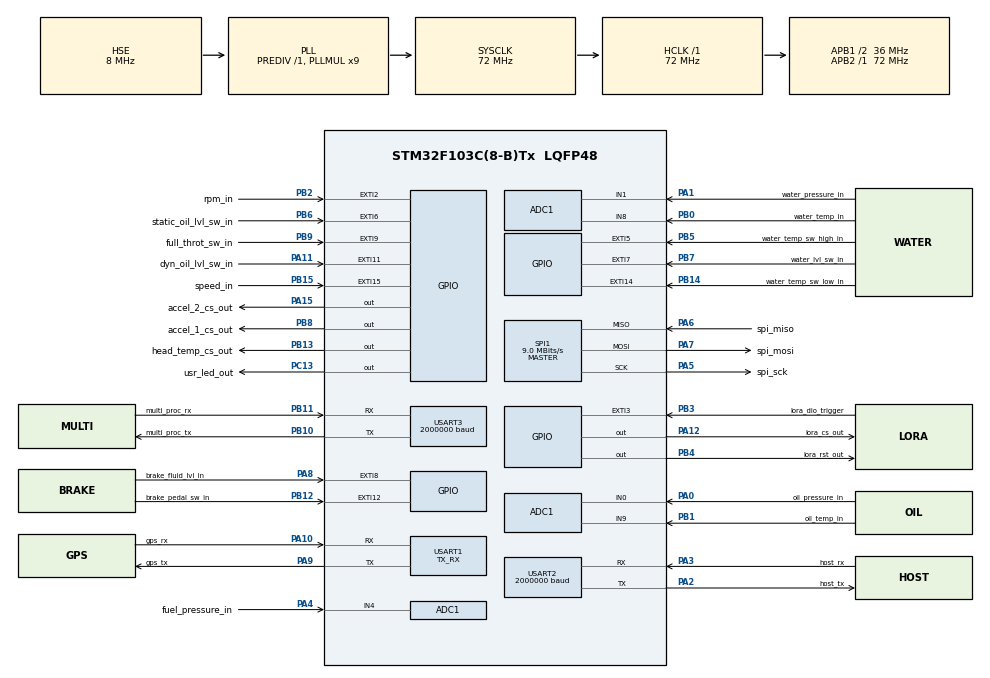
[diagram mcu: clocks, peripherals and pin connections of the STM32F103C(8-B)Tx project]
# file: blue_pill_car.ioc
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Mcu.Family=STM32F1
PA6.Mode=Full_Duplex_Master
SPI1.VirtualType=VM_MASTER
PB10.Mode=Multiprocessor_communication
PB14.GPIO_Label=water_temp_sw_low_in
PA6.GPIO_Label=spi_miso
PB0.GPIO_Label=water_temp_in
PB6.GPIO_Label=static_oil_lvl_sw_in
NVIC.TIM1_UP_IRQn=true\:0\:0\:false\:false\:true\:true\:true
PA11.GPIO_PuPd=GPIO_PULLDOWN
PB13.GPIO_Label=head_temp_cs_out
PB11.Signal=USART3_RX
PB13.Signal=GPIO_Output
PB15.Signal=GPXTI15
PC15-OSC32_OUT.GPIO_Label=clk_32khz_out
RCC.SYSCLKSource=RCC_SYSCLKSOURCE_PLLCLK
ProjectManager.StackSize=0x400
PD1-OSC_OUT.Signal=RCC_OSC_OUT
PA15.GPIO_Label=accel_2_cs_out
PD1-OSC_OUT.GPIO_Label=clk_8mhz_out
PA12.Signal=GPIO_Output
TIM1.Prescaler=36000-1
USART3.BaudRate=2000000
SPI1.Direction=SPI_DIRECTION_2LINES
RCC.HCLKFreq_Value=72000000
RCC.APB2TimFreq_Value=72000000
PB6.Signal=GPXTI6
SPI1.CalculateBaudRate=9.0 MBits/s
PB9.GPIO_ModeDefaultEXTI=GPIO_MODE_IT_RISING_FALLING
RCC.AHBFreq_Value=72000000
NVIC.EXTI15_10_IRQn=true\:0\:0\:false\:false\:true\:true\:true
PA12.PinState=GPIO_PIN_SET
PB2.Signal=GPXTI2
RCC.PLLMUL=RCC_PLL_MUL9
PB12.GPIO_Label=brake_pedal_sw_in
PB3.GPIO_PuPd=GPIO_PULLDOWN
PC14-OSC32_IN.Mode=LSE-External-Oscillator
PC13-TAMPER-RTC.PinState=GPIO_PIN_RESET
PA14.Mode=Serial_Wire
PB1.GPIO_Label=oil_temp_in
PA10.GPIO_Label=gps_rx
SH.ADCx_IN8.0=ADC1_IN8,IN8
PB8.PinState=GPIO_PIN_SET
PB7.Signal=GPXTI7
PA8.Signal=GPXTI8
SH.ADCx_IN0.0=ADC1_IN0,IN0
PC13-TAMPER-RTC.GPIO_Speed=GPIO_SPEED_FREQ_HIGH
PB2.GPIO_PuPd=GPIO_PULLDOWN
VP_TIM1_VS_ClockSourceINT.Mode=Internal
PB7.GPIO_Label=water_lvl_sw_in
Mcu.Package=LQFP48
PB9.Signal=GPXTI9
PB14.GPIO_PuPd=GPIO_PULLDOWN
PB1.Signal=ADCx_IN9
PA6.Signal=SPI1_MISO
PB15.GPIO_PuPd=GPIO_PULLDOWN
USART2.VirtualMode=VM_ASYNC
PA2.GPIO_Label=host_tx
PA10.Signal=USART1_RX
PB9.GPIO_PuPd=GPIO_PULLDOWN
PA15.Signal=GPIO_Output
SH.ADCx_IN9.0=ADC1_IN9,IN9
SH.ADCx_IN1.0=ADC1_IN1,IN1
PB5.GPIO_Label=water_temp_sw_high_in
RCC.APB1TimFreq_Value=72000000
PC14-OSC32_IN.GPIO_Label=clk_32khz_in
TIM1.Period=2000-1
SPI1.BaudRatePrescaler=SPI_BAUDRATEPRESCALER_8
PA4.GPIO_Label=fuel_pressure_in
PA12.GPIO_Speed=GPIO_SPEED_FREQ_HIGH
PB4.Signal=GPIO_Output
PA3.Signal=USART2_RX
PA5.Mode=Full_Duplex_Master
PB3.GPIO_Label=lora_dio_trigger
PB7.GPIO_PuPd=GPIO_PULLDOWN
RCC.PLLSourceVirtual=RCC_PLLSOURCE_HSE
PC15-OSC32_OUT.Mode=LSE-External-Oscillator
PA7.Mode=Full_Duplex_Master
PD1-OSC_OUT.Mode=HSE-External-Oscillator
PB9.GPIO_Label=full_throt_sw_in
PA10.Mode=Asynchronous
PA9.GPIO_Label=gps_tx
PB6.GPIO_PuPd=GPIO_PULLDOWN
PB11.GPIO_Label=multi_proc_rx
PC13-TAMPER-RTC.Signal=GPIO_Output
PA11.GPIO_Label=dyn_oil_lvl_sw_in
PD0-OSC_IN.Signal=RCC_OSC_IN
RCC.APB1CLKDivider=RCC_HCLK_DIV2
PC14-OSC32_IN.Signal=RCC_OSC32_IN
USART2.BaudRate=2000000
PA12.GPIO_Label=lora_cs_out
PA0-WKUP.GPIO_Label=oil_pressure_in
PA0-WKUP.Signal=ADCx_IN0
RCC.ADCPresc=RCC_ADCPCLK2_DIV8
PA3.Mode=Asynchronous
PA13.Signal=SYS_JTMS-SWDIO
TIM1.AutoReloadPreload=TIM_AUTORELOAD_PRELOAD_ENABLE
PB8.GPIO_Label=accel_1_cs_out
PA9.Mode=Asynchronous
PA8.GPIO_Label=brake_fluid_lvl_in
PB11.Mode=Multiprocessor_communication
ProjectManager.TargetToolchain=SW4STM32
PB10.GPIO_Label=multi_proc_tx
PA9.Signal=USART1_TX
ADC1.Channel-1\#ChannelRegularConversion=ADC_CHANNEL_0
PB13.GPIO_Speed=GPIO_SPEED_FREQ_HIGH
RCC.USBFreq_Value=72000000
PC15-OSC32_OUT.Signal=RCC_OSC32_OUT
PA1.Signal=ADCx_IN1
PD0-OSC_IN.Mode=HSE-External-Oscillator
PB10.Signal=USART3_TX
PB14.Signal=GPXTI14
PA5.Signal=SPI1_SCK
board=custom
PD0-OSC_IN.GPIO_Label=clk_8mhz_in
PC13-TAMPER-RTC.GPIO_Label=usr_led_out
PB13.GPIO_PuPd=GPIO_PULLDOWN
PA15.PinState=GPIO_PIN_SET
TIM1.TIM_MasterOutputTrigger=TIM_TRGO_OC1REF
PB4.GPIO_Speed=GPIO_SPEED_FREQ_HIGH
RCC.APB2Freq_Value=72000000
PB13.PinState=GPIO_PIN_SET
PB4.GPIO_Label=lora_rst_out
USART1.Mode=MODE_TX_RX
PB15.GPIO_Label=speed_in
SPI1.Mode=SPI_MODE_MASTER
PA1.GPIO_Label=water_pressure_in
SH.ADCx_IN4.0=ADC1_IN4,IN4
PA13.Mode=Serial_Wire
Mcu.Name=STM32F103C(8-B)Tx
PA2.Signal=USART2_TX
PB3.Signal=GPXTI3
PA4.Signal=ADCx_IN4
ADC1.SamplingTime-1\#ChannelRegularConversion=ADC_SAMPLETIME_1CYCLE_5
RCC.SYSCLKFreq_VALUE=72000000
PB5.Signal=GPXTI5
PA7.GPIO_Label=spi_mosi
ADC1.master=1
PA5.GPIO_Label=spi_sck
USART3.VirtualMode=VM_ASYNC
PB5.GPIO_PuPd=GPIO_PULLDOWN
USART1.VirtualMode=VM_ASYNC
PA15.GPIO_Speed=GPIO_SPEED_FREQ_HIGH
ADC1.Rank-1\#ChannelRegularConversion=1
PA11.Signal=GPXTI11
NVIC.EXTI9_5_IRQn=true\:0\:0\:false\:false\:true\:true\:true
PA14.Signal=SYS_JTCK-SWCLK
PB2.GPIO_Label=rpm_in
ProjectManager.HeapSize=0x200
PB12.GPIO_ModeDefaultEXTI=GPIO_MODE_IT_RISING_FALLING
PA8.GPIO_PuPd=GPIO_PULLDOWN
NVIC.PriorityGroup=NVIC_PRIORITYGROUP_4
ADC1.NbrOfConversionFlag=1
PA2.Mode=Asynchronous
PB8.Signal=GPIO_Output
PB12.GPIO_PuPd=GPIO_PULLDOWN
RCC.APB1Freq_Value=36000000
PB8.GPIO_Speed=GPIO_SPEED_FREQ_HIGH
PB0.Signal=ADCx_IN8
PB12.Signal=GPXTI12
PA3.GPIO_Label=host_rx
PA7.Signal=SPI1_MOSI

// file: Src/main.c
/* USER CODE BEGIN Header */
/**
  ******************************************************************************
  * @file           : main.c
  * @brief          : Main program body
  ******************************************************************************
  * @attention
  *
  * <h2><center>&copy; Copyright (c) 2020 STMicroelectronics.
  * All rights reserved.</center></h2>
  *
  * This software component is licensed by ST under BSD 3-Clause license,
  * the "License"; You may not use this file except in compliance with the
  * License. You may obtain a copy of the License at:
  *                        opensource.org/licenses/BSD-3-Clause
  *
  ******************************************************************************
  */
/* USER CODE END Header */

#include "main.h"

/* USER CODE BEGIN Includes */
#include "SX1278.h"
#include <string.h>
#include <stdio.h>
#include <math.h>
/* USER CODE END Includes */

ADC_HandleTypeDef hadc1;

SPI_HandleTypeDef hspi1;

TIM_HandleTypeDef htim1;

UART_HandleTypeDef huart1;
UART_HandleTypeDef huart2;
UART_HandleTypeDef huart3;

/* USER CODE BEGIN PV */

char * brake_pressed_msg = "Brake pressed\n";
uint32_t brake_pressed_msg_len;
char * brake_released_msg = "Brake released\n";
uint32_t brake_released_msg_len;

const char * full_throttle_msg = "Full throttle\n";
uint32_t full_throttle_msg_len;
const char * not_full_throttle_msg = "Not full throttle\n";
uint32_t not_full_throttle_msg_len;

volatile uint32_t last_brake_sw_trig = 0;
volatile uint32_t last_full_throttle_trig = 0;
volatile uint8_t full_throttle_cycles = 0;
volatile uint8_t brake_switch_cycles = 0;

volatile float last_head_temp_celsius;
// This is assuming that the tick rate is 1ms
const uint32_t min_trig_time = 50;
/* USER CODE END PV */

void SystemClock_Config(void);
static void MX_GPIO_Init(void);
static void MX_ADC1_Init(void);
static void MX_SPI1_Init(void);
static void MX_USART1_UART_Init(void);
static void MX_USART2_UART_Init(void);
static void MX_USART3_UART_Init(void);
static void MX_TIM1_Init(void);
/* USER CODE BEGIN PFP */

int32_t read_head_temperature() {
    uint16_t val;
    HAL_GPIO_WritePin(head_temp_cs_out_GPIO_Port, head_temp_cs_out_Pin, RESET);
    HAL_SPI_Receive(&hspi1, (uint8_t *) &val, 2, 1000);
    val = ((val & 0xff) << 8U) | (val >> 8U);
    HAL_GPIO_WritePin(head_temp_cs_out_GPIO_Port, head_temp_cs_out_Pin, SET);

    //return (float) ((val >> 3U) * 0.25);
    return ((val >> 3U) / 4);
}

/* USER CODE END PFP */

/* USER CODE BEGIN 0 */
void HAL_GPIO_EXTI_Callback(const uint16_t GPIO_Pin){
    const uint32_t now = HAL_GetTick();

    if (GPIO_Pin == brake_pedal_sw_in_Pin) {
        if (now - last_brake_sw_trig > min_trig_time) {
            if (HAL_GPIO_ReadPin(brake_pedal_sw_in_GPIO_Port, brake_pedal_sw_in_Pin) == GPIO_PIN_SET) {
                HAL_UART_Transmit(&huart2, (uint8_t *)brake_pressed_msg, brake_pressed_msg_len, 100);
            } else {
                HAL_UART_Transmit(&huart2, (uint8_t *)brake_released_msg, brake_released_msg_len, 100);
            }
        }
        last_brake_sw_trig = now;
    } else if (GPIO_Pin == full_throt_sw_in_Pin) {
        if (now - last_full_throttle_trig > min_trig_time) {
            if (HAL_GPIO_ReadPin(full_throt_sw_in_GPIO_Port, GPIO_Pin) == GPIO_PIN_SET) {
                HAL_UART_Transmit(&huart2, (uint8_t *)full_throttle_msg, full_throttle_msg_len, 100);
            } else {
                HAL_UART_Transmit(&huart2, (uint8_t *)not_full_throttle_msg, not_full_throttle_msg_len, 100);
            }
        }
        last_full_throttle_trig = now;
    }
}

void HAL_TIM_PeriodElapsedCallback(TIM_HandleTypeDef *htim) {
    if (htim == &htim1) {
        HAL_UART_Transmit(&huart2, "Hi\n", 3, 100);
    }
}

/* USER CODE END 0 */

int main(void)
{

  /* MCU Configuration--------------------------------------------------------*/

  /* Reset of all peripherals, Initializes the Flash interface and the Systick. */
  HAL_Init();

  /* Configure the system clock */
  SystemClock_Config();

  /* Initialize all configured peripherals */
  MX_GPIO_Init();
  MX_ADC1_Init();
  MX_SPI1_Init();
  MX_USART1_UART_Init();
  MX_USART2_UART_Init();
  MX_USART3_UART_Init();
  MX_TIM1_Init();
  /* USER CODE BEGIN 2 */

  SX1278_hw_t hw;
  hw.dio0.port = lora_dio_trigger_GPIO_Port;
  hw.dio0.pin = lora_dio_trigger_Pin;
  hw.nss.pin = lora_cs_out_Pin;
  hw.nss.port = lora_cs_out_GPIO_Port;
  hw.reset.pin = lora_rst_out_Pin;
  hw.reset.port = lora_rst_out_GPIO_Port;
  hw.spi = &hspi1;

  brake_pressed_msg_len = strlen(brake_pressed_msg);
  brake_released_msg_len = strlen(brake_released_msg);

    full_throttle_msg_len = strlen(full_throttle_msg);
    not_full_throttle_msg_len = strlen(not_full_throttle_msg);

  UART_HandleTypeDef * host_uart = &huart2;

  char * start_message = "Car telemetry system starting...\n";
  char * end_message = "Car telemetry system stopping...\n";
  HAL_UART_Transmit(host_uart, (uint8_t *)start_message, strlen(start_message), 1000);

#define message_buff_len 100
  char message_buff[message_buff_len];

  /* USER CODE END 2 */

  /* Infinite loop */
  /* USER CODE BEGIN WHILE */
  while (1)
  {
      const int32_t temp = read_head_temperature();
      const uint32_t len = snprintf(message_buff, message_buff_len, "%d\n", temp);
      HAL_UART_Transmit(host_uart, message_buff, len, 100);
      HAL_Delay(260);
    /* USER CODE END WHILE */

    /* USER CODE BEGIN 3 */
  }

  HAL_UART_Transmit(host_uart, (uint8_t *)end_message, strlen(end_message), 1000);

  /* USER CODE END 3 */
}

void SystemClock_Config(void)
{
  RCC_OscInitTypeDef RCC_OscInitStruct = {0};
  RCC_ClkInitTypeDef RCC_ClkInitStruct = {0};
  RCC_PeriphCLKInitTypeDef PeriphClkInit = {0};

  /** Initializes the CPU, AHB and APB busses clocks
  */
  RCC_OscInitStruct.OscillatorType = RCC_OSCILLATORTYPE_HSE;
  RCC_OscInitStruct.HSEState = RCC_HSE_ON;
  RCC_OscInitStruct.HSEPredivValue = RCC_HSE_PREDIV_DIV1;
  RCC_OscInitStruct.HSIState = RCC_HSI_ON;
  RCC_OscInitStruct.PLL.PLLState = RCC_PLL_ON;
  RCC_OscInitStruct.PLL.PLLSource = RCC_PLLSOURCE_HSE;
  RCC_OscInitStruct.PLL.PLLMUL = RCC_PLL_MUL9;
  if (HAL_RCC_OscConfig(&RCC_OscInitStruct) != HAL_OK)
  {
    Error_Handler();
  }
  /** Initializes the CPU, AHB and APB busses clocks
  */
  RCC_ClkInitStruct.ClockType = RCC_CLOCKTYPE_HCLK|RCC_CLOCKTYPE_SYSCLK
                              |RCC_CLOCKTYPE_PCLK1|RCC_CLOCKTYPE_PCLK2;
  RCC_ClkInitStruct.SYSCLKSource = RCC_SYSCLKSOURCE_PLLCLK;
  RCC_ClkInitStruct.AHBCLKDivider = RCC_SYSCLK_DIV1;
  RCC_ClkInitStruct.APB1CLKDivider = RCC_HCLK_DIV2;
  RCC_ClkInitStruct.APB2CLKDivider = RCC_HCLK_DIV1;

  if (HAL_RCC_ClockConfig(&RCC_ClkInitStruct, FLASH_LATENCY_2) != HAL_OK)
  {
    Error_Handler();
  }
  PeriphClkInit.PeriphClockSelection = RCC_PERIPHCLK_ADC;
  PeriphClkInit.AdcClockSelection = RCC_ADCPCLK2_DIV8;
  if (HAL_RCCEx_PeriphCLKConfig(&PeriphClkInit) != HAL_OK)
  {
    Error_Handler();
  }
}

static void MX_ADC1_Init(void)
{

  ADC_ChannelConfTypeDef sConfig = {0};

  /** Common config
  */
  hadc1.Instance = ADC1;
  hadc1.Init.ScanConvMode = ADC_SCAN_DISABLE;
  hadc1.Init.ContinuousConvMode = DISABLE;
  hadc1.Init.DiscontinuousConvMode = DISABLE;
  hadc1.Init.ExternalTrigConv = ADC_SOFTWARE_START;
  hadc1.Init.DataAlign = ADC_DATAALIGN_RIGHT;
  hadc1.Init.NbrOfConversion = 1;
  if (HAL_ADC_Init(&hadc1) != HAL_OK)
  {
    Error_Handler();
  }
  /** Configure Regular Channel
  */
  sConfig.Channel = ADC_CHANNEL_0;
  sConfig.Rank = ADC_REGULAR_RANK_1;
  sConfig.SamplingTime = ADC_SAMPLETIME_1CYCLE_5;
  if (HAL_ADC_ConfigChannel(&hadc1, &sConfig) != HAL_OK)
  {
    Error_Handler();
  }

}

static void MX_SPI1_Init(void)
{

  /* SPI1 parameter configuration*/
  hspi1.Instance = SPI1;
  hspi1.Init.Mode = SPI_MODE_MASTER;
  hspi1.Init.Direction = SPI_DIRECTION_2LINES;
  hspi1.Init.DataSize = SPI_DATASIZE_8BIT;
  hspi1.Init.CLKPolarity = SPI_POLARITY_LOW;
  hspi1.Init.CLKPhase = SPI_PHASE_1EDGE;
  hspi1.Init.NSS = SPI_NSS_SOFT;
  hspi1.Init.BaudRatePrescaler = SPI_BAUDRATEPRESCALER_8;
  hspi1.Init.FirstBit = SPI_FIRSTBIT_MSB;
  hspi1.Init.TIMode = SPI_TIMODE_DISABLE;
  hspi1.Init.CRCCalculation = SPI_CRCCALCULATION_DISABLE;
  hspi1.Init.CRCPolynomial = 10;
  if (HAL_SPI_Init(&hspi1) != HAL_OK)
  {
    Error_Handler();
  }

}

static void MX_TIM1_Init(void)
{

  TIM_ClockConfigTypeDef sClockSourceConfig = {0};
  TIM_MasterConfigTypeDef sMasterConfig = {0};

  htim1.Instance = TIM1;
  htim1.Init.Prescaler = 36000-1;
  htim1.Init.CounterMode = TIM_COUNTERMODE_UP;
  htim1.Init.Period = 2000-1;
  htim1.Init.ClockDivision = TIM_CLOCKDIVISION_DIV1;
  htim1.Init.RepetitionCounter = 0;
  htim1.Init.AutoReloadPreload = TIM_AUTORELOAD_PRELOAD_ENABLE;
  if (HAL_TIM_Base_Init(&htim1) != HAL_OK)
  {
    Error_Handler();
  }
  sClockSourceConfig.ClockSource = TIM_CLOCKSOURCE_INTERNAL;
  if (HAL_TIM_ConfigClockSource(&htim1, &sClockSourceConfig) != HAL_OK)
  {
    Error_Handler();
  }
  sMasterConfig.MasterOutputTrigger = TIM_TRGO_OC1REF;
  sMasterConfig.MasterSlaveMode = TIM_MASTERSLAVEMODE_DISABLE;
  if (HAL_TIMEx_MasterConfigSynchronization(&htim1, &sMasterConfig) != HAL_OK)
  {
    Error_Handler();
  }
  /* USER CODE BEGIN TIM1_Init 2 */

  HAL_TIM_Base_Start_IT(&htim1);
  /* USER CODE END TIM1_Init 2 */

}

static void MX_USART1_UART_Init(void)
{

  huart1.Instance = USART1;
  huart1.Init.BaudRate = 115200;
  huart1.Init.WordLength = UART_WORDLENGTH_8B;
  huart1.Init.StopBits = UART_STOPBITS_1;
  huart1.Init.Parity = UART_PARITY_NONE;
  huart1.Init.Mode = UART_MODE_TX_RX;
  huart1.Init.HwFlowCtl = UART_HWCONTROL_NONE;
  huart1.Init.OverSampling = UART_OVERSAMPLING_16;
  if (HAL_UART_Init(&huart1) != HAL_OK)
  {
    Error_Handler();
  }

}

static void MX_USART2_UART_Init(void)
{

  huart2.Instance = USART2;
  huart2.Init.BaudRate = 2000000;
  huart2.Init.WordLength = UART_WORDLENGTH_8B;
  huart2.Init.StopBits = UART_STOPBITS_1;
  huart2.Init.Parity = UART_PARITY_NONE;
  huart2.Init.Mode = UART_MODE_TX_RX;
  huart2.Init.HwFlowCtl = UART_HWCONTROL_NONE;
  huart2.Init.OverSampling = UART_OVERSAMPLING_16;
  if (HAL_UART_Init(&huart2) != HAL_OK)
  {
    Error_Handler();
  }

}

static void MX_USART3_UART_Init(void)
{

  huart3.Instance = USART3;
  huart3.Init.BaudRate = 2000000;
  huart3.Init.WordLength = UART_WORDLENGTH_8B;
  huart3.Init.StopBits = UART_STOPBITS_1;
  huart3.Init.Parity = UART_PARITY_NONE;
  huart3.Init.Mode = UART_MODE_TX_RX;
  huart3.Init.HwFlowCtl = UART_HWCONTROL_NONE;
  huart3.Init.OverSampling = UART_OVERSAMPLING_16;
  if (HAL_MultiProcessor_Init(&huart3, 0, UART_WAKEUPMETHOD_IDLELINE) != HAL_OK)
  {
    Error_Handler();
  }

}

static void MX_GPIO_Init(void)
{
  GPIO_InitTypeDef GPIO_InitStruct = {0};

  /* GPIO Ports Clock Enable */
  __HAL_RCC_GPIOC_CLK_ENABLE();
  __HAL_RCC_GPIOD_CLK_ENABLE();
  __HAL_RCC_GPIOA_CLK_ENABLE();
  __HAL_RCC_GPIOB_CLK_ENABLE();

  /*Configure GPIO pin Output Level */
  HAL_GPIO_WritePin(usr_led_out_GPIO_Port, usr_led_out_Pin, GPIO_PIN_RESET);

  /*Configure GPIO pin Output Level */
  HAL_GPIO_WritePin(GPIOB, head_temp_cs_out_Pin|accel_1_cs_out_Pin, GPIO_PIN_SET);

  /*Configure GPIO pin Output Level */
  HAL_GPIO_WritePin(GPIOA, lora_cs_out_Pin|accel_2_cs_out_Pin, GPIO_PIN_SET);

  /*Configure GPIO pin Output Level */
  HAL_GPIO_WritePin(lora_rst_out_GPIO_Port, lora_rst_out_Pin, GPIO_PIN_RESET);

  /*Configure GPIO pin : usr_led_out_Pin */
  GPIO_InitStruct.Pin = usr_led_out_Pin;
  GPIO_InitStruct.Mode = GPIO_MODE_OUTPUT_PP;
  GPIO_InitStruct.Pull = GPIO_NOPULL;
  GPIO_InitStruct.Speed = GPIO_SPEED_FREQ_HIGH;
  HAL_GPIO_Init(usr_led_out_GPIO_Port, &GPIO_InitStruct);

  /*Configure GPIO pins : rpm_in_Pin water_temp_sw_low_in_Pin speed_in_Pin lora_dio_trigger_Pin
                           water_temp_sw_high_in_Pin static_oil_lvl_sw_in_Pin water_lvl_sw_in_Pin */
  GPIO_InitStruct.Pin = rpm_in_Pin|water_temp_sw_low_in_Pin|speed_in_Pin|lora_dio_trigger_Pin
                          |water_temp_sw_high_in_Pin|static_oil_lvl_sw_in_Pin|water_lvl_sw_in_Pin;
  GPIO_InitStruct.Mode = GPIO_MODE_IT_RISING;
  GPIO_InitStruct.Pull = GPIO_PULLDOWN;
  HAL_GPIO_Init(GPIOB, &GPIO_InitStruct);

  /*Configure GPIO pins : brake_pedal_sw_in_Pin full_throt_sw_in_Pin */
  GPIO_InitStruct.Pin = brake_pedal_sw_in_Pin|full_throt_sw_in_Pin;
  GPIO_InitStruct.Mode = GPIO_MODE_IT_RISING_FALLING;
  GPIO_InitStruct.Pull = GPIO_PULLDOWN;
  HAL_GPIO_Init(GPIOB, &GPIO_InitStruct);

  /*Configure GPIO pin : head_temp_cs_out_Pin */
  GPIO_InitStruct.Pin = head_temp_cs_out_Pin;
  GPIO_InitStruct.Mode = GPIO_MODE_OUTPUT_PP;
  GPIO_InitStruct.Pull = GPIO_PULLDOWN;
  GPIO_InitStruct.Speed = GPIO_SPEED_FREQ_HIGH;
  HAL_GPIO_Init(head_temp_cs_out_GPIO_Port, &GPIO_InitStruct);

  /*Configure GPIO pins : brake_fluid_lvl_in_Pin dyn_oil_lvl_sw_in_Pin */
  GPIO_InitStruct.Pin = brake_fluid_lvl_in_Pin|dyn_oil_lvl_sw_in_Pin;
  GPIO_InitStruct.Mode = GPIO_MODE_IT_RISING;
  GPIO_InitStruct.Pull = GPIO_PULLDOWN;
  HAL_GPIO_Init(GPIOA, &GPIO_InitStruct);

  /*Configure GPIO pins : lora_cs_out_Pin accel_2_cs_out_Pin */
  GPIO_InitStruct.Pin = lora_cs_out_Pin|accel_2_cs_out_Pin;
  GPIO_InitStruct.Mode = GPIO_MODE_OUTPUT_PP;
  GPIO_InitStruct.Pull = GPIO_NOPULL;
  GPIO_InitStruct.Speed = GPIO_SPEED_FREQ_HIGH;
  HAL_GPIO_Init(GPIOA, &GPIO_InitStruct);

  /*Configure GPIO pins : lora_rst_out_Pin accel_1_cs_out_Pin */
  GPIO_InitStruct.Pin = lora_rst_out_Pin|accel_1_cs_out_Pin;
  GPIO_InitStruct.Mode = GPIO_MODE_OUTPUT_PP;
  GPIO_InitStruct.Pull = GPIO_NOPULL;
  GPIO_InitStruct.Speed = GPIO_SPEED_FREQ_HIGH;
  HAL_GPIO_Init(GPIOB, &GPIO_InitStruct);

  /* EXTI interrupt init*/
  HAL_NVIC_SetPriority(EXTI9_5_IRQn, 0, 0);
  HAL_NVIC_EnableIRQ(EXTI9_5_IRQn);

  HAL_NVIC_SetPriority(EXTI15_10_IRQn, 0, 0);
  HAL_NVIC_EnableIRQ(EXTI15_10_IRQn);

}

void Error_Handler(void)
{
}

/************************ (C) COPYRIGHT STMicroelectronics *****END OF FILE****/
